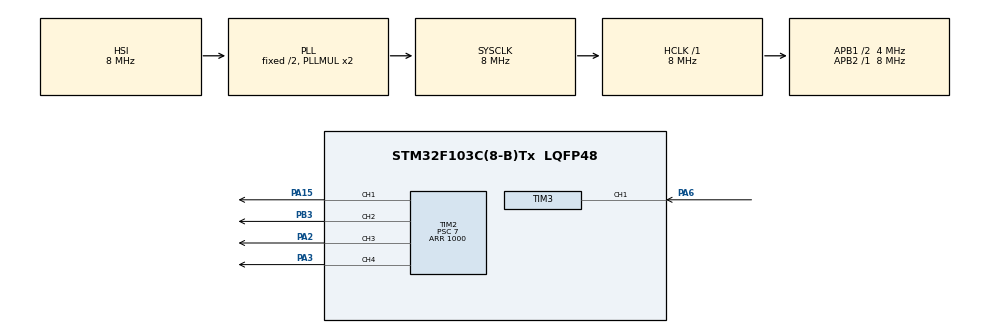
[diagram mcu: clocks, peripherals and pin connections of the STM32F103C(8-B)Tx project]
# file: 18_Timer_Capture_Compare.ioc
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Mcu.Family=STM32F1
PC15-OSC32_OUT.Mode=LSE-External-Oscillator
TIM2.Channel-PWM\ Generation4\ CH4=TIM_CHANNEL_4
TIM2.Channel-PWM\ Generation2\ CH2=TIM_CHANNEL_2
RCC.APB1CLKDivider=RCC_HCLK_DIV2
PC14-OSC32_IN.Signal=RCC_OSC32_IN
RCC.SYSCLKSource=RCC_SYSCLKSOURCE_PLLCLK
ProjectManager.StackSize=0x400
TIM2.Pulse-PWM\ Generation1\ CH1=500
PA13.Signal=SYS_JTMS-SWDIO
SH.S_TIM2_CH2.0=TIM2_CH2,PWM Generation2 CH2
ProjectManager.TargetToolchain=STM32CubeIDE
TIM2.Pulse-PWM\ Generation3\ CH3=500
RCC.HCLKFreq_Value=8000000
RCC.APB2TimFreq_Value=8000000
TIM3.Period=0xffff
RCC.USBFreq_Value=8000000
PC15-OSC32_OUT.Signal=RCC_OSC32_OUT
RCC.AHBFreq_Value=8000000
TIM3.Channel-Input_Capture1_from_TI1=TIM_CHANNEL_1
board=custom
NVIC.TIM3_IRQn=true\:0\:0\:false\:false\:true\:true\:true
RCC.APB2Freq_Value=8000000
PC14-OSC32_IN.Mode=LSE-External-Oscillator
VP_TIM2_VS_ClockSourceINT.Mode=Internal
SH.S_TIM2_CH3.0=TIM2_CH3,PWM Generation3 CH3
PA14.Mode=Serial_Wire
TIM2.Channel-PWM\ Generation3\ CH3=TIM_CHANNEL_3
TIM2.Channel-PWM\ Generation1\ CH1=TIM_CHANNEL_1
SH.S_TIM3_CH1.0=TIM3_CH1,Input_Capture1_from_TI1
TIM2.Period=1000
PA13.Mode=Serial_Wire
Mcu.Name=STM32F103C(8-B)Tx
PA2.Signal=S_TIM2_CH3
PB3.Signal=S_TIM2_CH2
RCC.SYSCLKFreq_VALUE=8000000
Mcu.Package=LQFP48
TIM2.Prescaler=7
PA6.Signal=S_TIM3_CH1
SH.S_TIM2_CH1_ETR.0=TIM2_CH1,PWM Generation1 CH1
PA14.Signal=SYS_JTCK-SWCLK
PA15.Signal=S_TIM2_CH1_ETR
ProjectManager.HeapSize=0x200
SH.S_TIM2_CH4.0=TIM2_CH4,PWM Generation4 CH4
TIM2.Pulse-PWM\ Generation2\ CH2=500
NVIC.PriorityGroup=NVIC_PRIORITYGROUP_4
RCC.APB1TimFreq_Value=8000000
TIM2.Pulse-PWM\ Generation4\ CH4=500
RCC.APB1Freq_Value=4000000
VP_TIM3_VS_ClockSourceINT.Mode=Internal
PA3.Signal=S_TIM2_CH4

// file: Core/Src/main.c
/* USER CODE BEGIN Header */
/**
  ******************************************************************************
  * @file           : main.c
  * @brief          : Main program body
  ******************************************************************************
  * @attention
  *
  * <h2><center>&copy; Copyright (c) 2021 STMicroelectronics.
  * All rights reserved.</center></h2>
  *
  * This software component is licensed by ST under BSD 3-Clause license,
  * the "License"; You may not use this file except in compliance with the
  * License. You may obtain a copy of the License at:
  *                        opensource.org/licenses/BSD-3-Clause
  *
  ******************************************************************************
  */
/* USER CODE END Header */
#include "main.h"

TIM_HandleTypeDef htim2;
TIM_HandleTypeDef htim3;

/* USER CODE BEGIN PV */
unsigned short icValue1 = 0;
unsigned short icValue2 = 0;
unsigned short diff = 0;
unsigned short f = 0;
uint8_t isFirstCapture = 0;
/* USER CODE END PV */

void SystemClock_Config(void);
static void MX_GPIO_Init(void);
static void MX_TIM2_Init(void);
static void MX_TIM3_Init(void);

/* USER CODE BEGIN 0 */
void HAL_TIM_IC_CaptureCallback(TIM_HandleTypeDef *htim)
{
	if(htim -> Channel == HAL_TIM_ACTIVE_CHANNEL_1)
	{
		if(isFirstCapture == 0)
		{
			icValue1 = HAL_TIM_ReadCapturedValue(&htim3, TIM_CHANNEL_1);
			isFirstCapture = 1;
		}
		else if(isFirstCapture == 1)
		{
			icValue2 = HAL_TIM_ReadCapturedValue(&htim3, TIM_CHANNEL_1);
			if(icValue2 > icValue1)
			{
				diff = icValue2 - icValue1;
			}
			else if(icValue2 < icValue1)
			{
				diff = ((0xffff-icValue1)+icValue2)+1;
			}
			else
				{Error_Handler();}
			//Frequency = TIM1 CLOCK/ diff
			f = HAL_RCC_GetPCLK2Freq()/diff;
			isFirstCapture = 0;
		}
	}
}
/* USER CODE END 0 */

int main(void)
{

  /* MCU Configuration--------------------------------------------------------*/

  /* Reset of all peripherals, Initializes the Flash interface and the Systick. */
  HAL_Init();

  /* Configure the system clock */
  SystemClock_Config();

  /* Initialize all configured peripherals */
  MX_GPIO_Init();
  MX_TIM2_Init();
  MX_TIM3_Init();
  /* USER CODE BEGIN 2 */
  HAL_TIM_PWM_Start(&htim2, TIM_CHANNEL_1);
 //  HAL_TIM_IC_Start_IT(&htim1, TIM_CHANNEL_1);
 //  HAL_TIM_IC_Start_IT(&htim3, TIM_CHANNEL_1);
//   __HAL_TIM_SET_COMPARE(&htim2,TIM_CHANNEL_1,50);

  /* USER CODE END 2 */

  /* Infinite loop */
  while (1)
  {

  }
}

void SystemClock_Config(void)
{
  RCC_OscInitTypeDef RCC_OscInitStruct = {0};
  RCC_ClkInitTypeDef RCC_ClkInitStruct = {0};

  /** Initializes the RCC Oscillators according to the specified parameters
  * in the RCC_OscInitTypeDef structure.
  */
  RCC_OscInitStruct.OscillatorType = RCC_OSCILLATORTYPE_HSI;
  RCC_OscInitStruct.HSIState = RCC_HSI_ON;
  RCC_OscInitStruct.HSICalibrationValue = RCC_HSICALIBRATION_DEFAULT;
  RCC_OscInitStruct.PLL.PLLState = RCC_PLL_ON;
  RCC_OscInitStruct.PLL.PLLSource = RCC_PLLSOURCE_HSI_DIV2;
  RCC_OscInitStruct.PLL.PLLMUL = RCC_PLL_MUL2;
  if (HAL_RCC_OscConfig(&RCC_OscInitStruct) != HAL_OK)
  {
    Error_Handler();
  }
  /** Initializes the CPU, AHB and APB buses clocks
  */
  RCC_ClkInitStruct.ClockType = RCC_CLOCKTYPE_HCLK|RCC_CLOCKTYPE_SYSCLK
                              |RCC_CLOCKTYPE_PCLK1|RCC_CLOCKTYPE_PCLK2;
  RCC_ClkInitStruct.SYSCLKSource = RCC_SYSCLKSOURCE_PLLCLK;
  RCC_ClkInitStruct.AHBCLKDivider = RCC_SYSCLK_DIV1;
  RCC_ClkInitStruct.APB1CLKDivider = RCC_HCLK_DIV2;
  RCC_ClkInitStruct.APB2CLKDivider = RCC_HCLK_DIV1;

  if (HAL_RCC_ClockConfig(&RCC_ClkInitStruct, FLASH_LATENCY_0) != HAL_OK)
  {
    Error_Handler();
  }
}

static void MX_TIM2_Init(void)
{

  TIM_ClockConfigTypeDef sClockSourceConfig = {0};
  TIM_MasterConfigTypeDef sMasterConfig = {0};
  TIM_OC_InitTypeDef sConfigOC = {0};

  htim2.Instance = TIM2;
  htim2.Init.Prescaler = 7;
  htim2.Init.CounterMode = TIM_COUNTERMODE_UP;
  htim2.Init.Period = 1000;
  htim2.Init.ClockDivision = TIM_CLOCKDIVISION_DIV1;
  htim2.Init.AutoReloadPreload = TIM_AUTORELOAD_PRELOAD_DISABLE;
  if (HAL_TIM_Base_Init(&htim2) != HAL_OK)
  {
    Error_Handler();
  }
  sClockSourceConfig.ClockSource = TIM_CLOCKSOURCE_INTERNAL;
  if (HAL_TIM_ConfigClockSource(&htim2, &sClockSourceConfig) != HAL_OK)
  {
    Error_Handler();
  }
  if (HAL_TIM_PWM_Init(&htim2) != HAL_OK)
  {
    Error_Handler();
  }
  sMasterConfig.MasterOutputTrigger = TIM_TRGO_RESET;
  sMasterConfig.MasterSlaveMode = TIM_MASTERSLAVEMODE_DISABLE;
  if (HAL_TIMEx_MasterConfigSynchronization(&htim2, &sMasterConfig) != HAL_OK)
  {
    Error_Handler();
  }
  sConfigOC.OCMode = TIM_OCMODE_PWM1;
  sConfigOC.Pulse = 500;
  sConfigOC.OCPolarity = TIM_OCPOLARITY_HIGH;
  sConfigOC.OCFastMode = TIM_OCFAST_DISABLE;
  if (HAL_TIM_PWM_ConfigChannel(&htim2, &sConfigOC, TIM_CHANNEL_1) != HAL_OK)
  {
    Error_Handler();
  }
  if (HAL_TIM_PWM_ConfigChannel(&htim2, &sConfigOC, TIM_CHANNEL_2) != HAL_OK)
  {
    Error_Handler();
  }
  if (HAL_TIM_PWM_ConfigChannel(&htim2, &sConfigOC, TIM_CHANNEL_3) != HAL_OK)
  {
    Error_Handler();
  }
  if (HAL_TIM_PWM_ConfigChannel(&htim2, &sConfigOC, TIM_CHANNEL_4) != HAL_OK)
  {
    Error_Handler();
  }
  HAL_TIM_MspPostInit(&htim2);

}

static void MX_TIM3_Init(void)
{

  TIM_ClockConfigTypeDef sClockSourceConfig = {0};
  TIM_MasterConfigTypeDef sMasterConfig = {0};
  TIM_IC_InitTypeDef sConfigIC = {0};

  htim3.Instance = TIM3;
  htim3.Init.Prescaler = 0;
  htim3.Init.CounterMode = TIM_COUNTERMODE_UP;
  htim3.Init.Period = 0xffff;
  htim3.Init.ClockDivision = TIM_CLOCKDIVISION_DIV1;
  htim3.Init.AutoReloadPreload = TIM_AUTORELOAD_PRELOAD_DISABLE;
  if (HAL_TIM_Base_Init(&htim3) != HAL_OK)
  {
    Error_Handler();
  }
  sClockSourceConfig.ClockSource = TIM_CLOCKSOURCE_INTERNAL;
  if (HAL_TIM_ConfigClockSource(&htim3, &sClockSourceConfig) != HAL_OK)
  {
    Error_Handler();
  }
  if (HAL_TIM_IC_Init(&htim3) != HAL_OK)
  {
    Error_Handler();
  }
  sMasterConfig.MasterOutputTrigger = TIM_TRGO_RESET;
  sMasterConfig.MasterSlaveMode = TIM_MASTERSLAVEMODE_DISABLE;
  if (HAL_TIMEx_MasterConfigSynchronization(&htim3, &sMasterConfig) != HAL_OK)
  {
    Error_Handler();
  }
  sConfigIC.ICPolarity = TIM_INPUTCHANNELPOLARITY_RISING;
  sConfigIC.ICSelection = TIM_ICSELECTION_DIRECTTI;
  sConfigIC.ICPrescaler = TIM_ICPSC_DIV1;
  sConfigIC.ICFilter = 0;
  if (HAL_TIM_IC_ConfigChannel(&htim3, &sConfigIC, TIM_CHANNEL_1) != HAL_OK)
  {
    Error_Handler();
  }

}

static void MX_GPIO_Init(void)
{

  /* GPIO Ports Clock Enable */
  __HAL_RCC_GPIOC_CLK_ENABLE();
  __HAL_RCC_GPIOA_CLK_ENABLE();
  __HAL_RCC_GPIOB_CLK_ENABLE();

}

void Error_Handler(void)
{
  __disable_irq();
  while (1)
  {
  }
}

/************************ (C) COPYRIGHT STMicroelectronics *****END OF FILE****/
